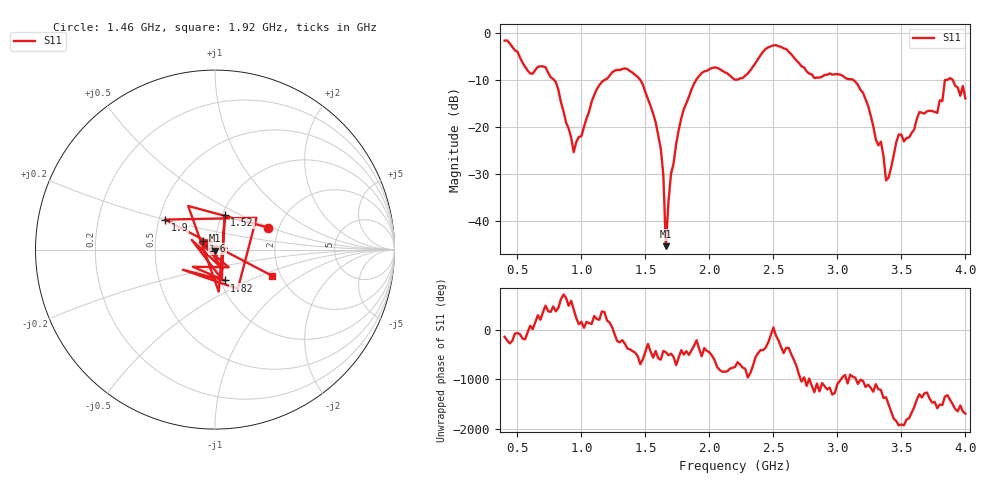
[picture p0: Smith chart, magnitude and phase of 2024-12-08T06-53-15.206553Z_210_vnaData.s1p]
!Created with skrf (http://scikit-rf.org).
# Hz S RI R 50.0
!freq ReS11 ImS11
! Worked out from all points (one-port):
!   181 points, 400 MHz to 4 GHz, reference 50 ohm
!   lowest |S11| = -45.3 dB at 1.66 GHz (marker M1), VSWR 1.01, Z = 49.9 - j0.539 ohm
!   |S11| at or under -10 dB: 789 MHz to 1.176 GHz (387.1 MHz wide, 39.4 % of centre); 1.462 GHz to 1.895 GHz (433 MHz wide, 25.8 % of centre); 3.128 GHz to 3.84 GHz (712.1 MHz wide, 20.4 % of centre) (the widest 3 of 4)
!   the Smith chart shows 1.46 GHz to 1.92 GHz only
!   S11 on the Smith chart (normalised r, x): 1.46 GHz: 1.75, +0.48; 1.52 GHz: 1.03, +0.41; 1.6 GHz: 0.87, +0.08; 1.82 GHz: 1.05, -0.37; 1.9 GHz: 0.54, +0.20; 1.92 GHz: 1.81, -0.61
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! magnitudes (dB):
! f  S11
! 400 MHz  -1.5
! 720 MHz  -7.2
! 860 MHz  -16.6
! 940 MHz  -25.3
! 1.12 GHz  -11.9
! 1.3 GHz  -7.8
! 1.46 GHz  -9.9
! 1.52 GHz  -14.0
! 1.6 GHz  -21.7
! 1.64 GHz  -30.1
! 1.66 GHz  -45.3
! 1.7 GHz  -29.9
! 1.76 GHz  -20.6
! 1.82 GHz  -14.9
! 1.9 GHz  -9.8
! 1.92 GHz  -9.1
! 2.2 GHz  -9.9
! 2.46 GHz  -3.0
! 2.66 GHz  -5.1
! 3.1 GHz  -9.8
! 3.34 GHz  -23.1
! 3.38 GHz  -31.3
! 3.48 GHz  -21.5
! 3.56 GHz  -22.2
! 3.64 GHz  -16.8
! 3.78 GHz  -16.9
! 3.84 GHz  -9.9
! 4 GHz  -13.9
